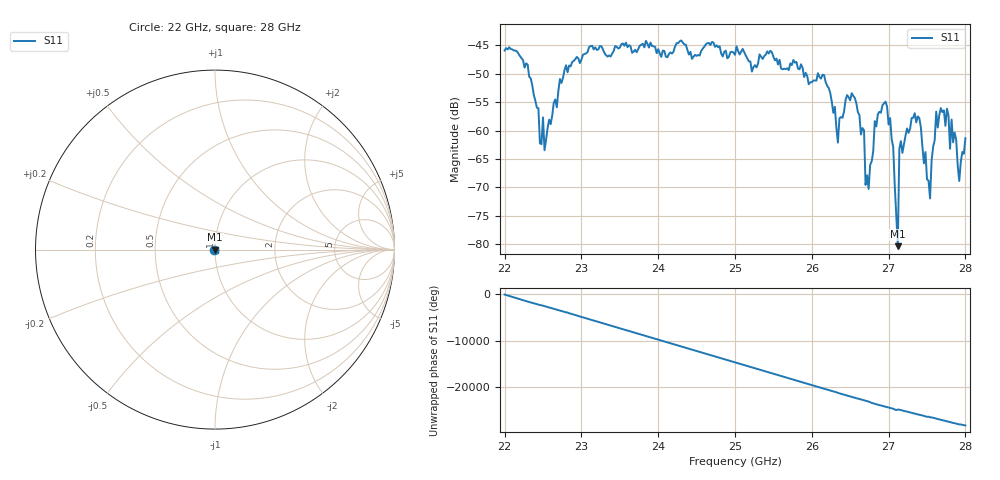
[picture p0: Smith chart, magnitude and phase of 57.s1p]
#  HZ  S  RI  R  50.00
! Rohde & Schwarz ZVA40 4Ports - Version 3.90 - 1145.1110k42 SN: 100403
! Date: 2023-10-04 10:48:57
! Measurement: S12
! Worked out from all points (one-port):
!   301 points, 22 GHz to 28 GHz, reference 50 ohm
!   lowest |S11| = -80.3 dB at 27.12 GHz (marker M1), VSWR 1.00, Z = 50 + j0.008 ohm
!   |S11| at or under -10 dB: start of sweep to end of sweep
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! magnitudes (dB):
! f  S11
! 22 GHz  -45.9
! 22.3 GHz  -48.4
! 22.52 GHz  -63.4
! 22.76 GHz  -50.7
! 23.5 GHz  -45.4
! 24.26 GHz  -44.6
! 25 GHz  -46.6
! 25.76 GHz  -47.6
! 26.16 GHz  -50.2
! 26.34 GHz  -62.1
! 26.5 GHz  -54.7
! 26.68 GHz  -59.9
! 26.7 GHz  -69.5
! 26.74 GHz  -70.3
! 26.82 GHz  -58.3
! 26.96 GHz  -54.9
! 27.06 GHz  -62.9
! 27.12 GHz  -80.3
! 27.14 GHz  -63.2
! 27.26 GHz  -60.4
! 27.4 GHz  -57.8
! 27.54 GHz  -71.9
! 27.62 GHz  -56.6
! 27.76 GHz  -56.1
! 27.8 GHz  -63.2
! 27.82 GHz  -58.0
! 27.92 GHz  -68.9
! 28 GHz  -61.3
